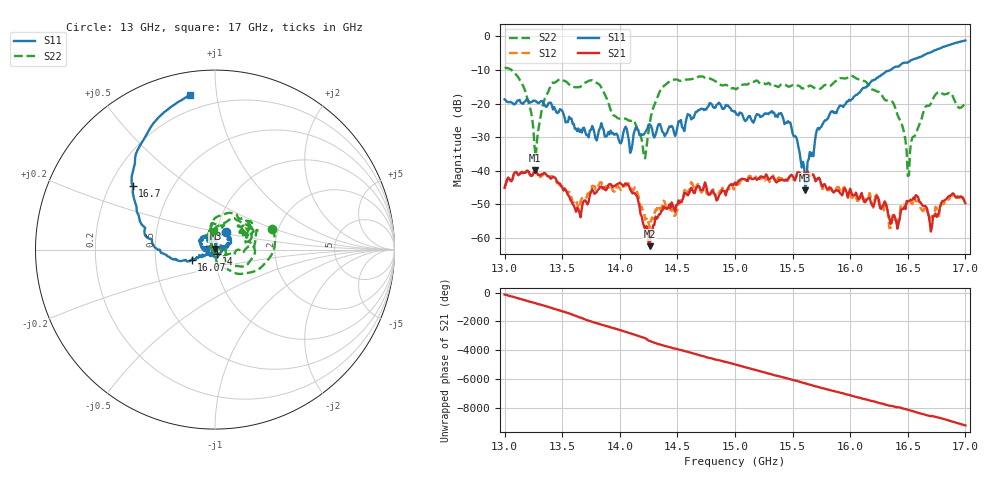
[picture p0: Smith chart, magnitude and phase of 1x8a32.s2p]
!Keysight Technologies,P9374A,MY57211807,A.19.30.04
!Date: Friday, May 08, 2026 14:13:07
!Correction: S11(C  2-Port  )
!S21(C  2-Port  )
!S12(C  2-Port  )
!S22(C  2-Port  )
!S2P File: Measurements: S11, S21, S12, S22:
# Hz S  dB  R 50
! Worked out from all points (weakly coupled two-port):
!   401 points, 13 GHz to 17 GHz, reference 50 ohm
!   highest |S21| = -39.89 dB at 13.26 GHz (marker M1); lowest = -62.4 dB at 14.26 GHz (marker M2)
!   lowest |S11| = -45.8 dB at 15.61 GHz (marker M3), VSWR 1.01, Z = 50.2 + j0.46 ohm
!   |S11| at or under -10 dB: start of sweep to 16.35 GHz
!   |S22| runs from -41.5 to -9.4 dB; largest |S21 - S12| = 0.0016
!   S11 on the Smith chart (normalised r, x): 13 GHz: 1.11, +0.22; 14 GHz: 1.02, -0.05; 16.07 GHz: 0.76, -0.09; 16.7 GHz: 0.29, +0.31; 17 GHz: 0.12, +0.84
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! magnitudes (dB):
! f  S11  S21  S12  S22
! 13 GHz  -18.8  -45.1  -44.7  -9.4
! 13.16 GHz  -20.1  -40.8  -40.6  -14.7
! 13.26 GHz  -19.1  -39.9  -40.2  -32.8
! 13.41 GHz  -20.4  -42.0  -41.6  -14.0
! 13.67 GHz  -28.6  -51.2  -48.2  -14.6
! 13.81 GHz  -29.4  -45.7  -45.1  -14.0
! 14 GHz  -31.7  -43.5  -45.3  -24.5
! 14.14 GHz  -26.9  -47.2  -45.3  -26.4
! 14.21 GHz  -29.1  -56.5  -52.2  -35.9
! 14.26 GHz  -26.2  -62.4  -57.0  -25.8
! 14.34 GHz  -26.0  -53.0  -50.5  -16.9
! 15 GHz  -22.2  -43.5  -44.4  -15.6
! 15.4 GHz  -22.8  -42.7  -42.2  -14.3
! 15.61 GHz  -45.8  -40.8  -40.6  -15.2
! 15.67 GHz  -34.6  -41.2  -41.0  -14.9
! 15.83 GHz  -22.5  -45.0  -45.3  -14.7
! 16.07 GHz  -16.9  -48.4  -48.9  -12.7
! 16.34 GHz  -10.2  -54.1  -57.1  -19.2
! 16.51 GHz  -7.5  -49.0  -48.1  -41.4
! 16.7 GHz  -4.7  -58.1  -53.9  -20.0
! 16.87 GHz  -2.4  -47.3  -47.6  -16.8
! 17 GHz  -1.2  -49.6  -49.3  -19.6
